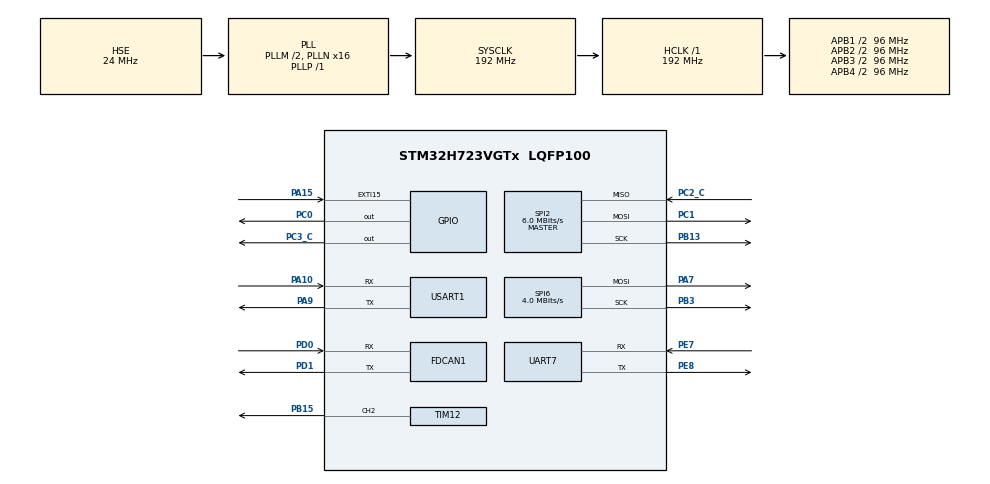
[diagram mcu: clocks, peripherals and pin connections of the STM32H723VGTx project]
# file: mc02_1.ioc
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CORTEX_M7.default_mode_Activation=1
Dma.Request0=USART1_TX
Dma.Request1=USART1_RX
Dma.Request2=UART7_RX
Dma.Request3=UART7_TX
Dma.UART7_RX.2.Direction=DMA_PERIPH_TO_MEMORY
Dma.UART7_RX.2.EventEnable=DISABLE
Dma.UART7_RX.2.FIFOMode=DMA_FIFOMODE_DISABLE
Dma.UART7_RX.2.Instance=DMA1_Stream2
Dma.UART7_RX.2.MemDataAlignment=DMA_MDATAALIGN_BYTE
Dma.UART7_RX.2.MemInc=DMA_MINC_ENABLE
Dma.UART7_RX.2.Mode=DMA_CIRCULAR
Dma.UART7_RX.2.PeriphDataAlignment=DMA_PDATAALIGN_BYTE
Dma.UART7_RX.2.PeriphInc=DMA_PINC_DISABLE
Dma.UART7_RX.2.Polarity=HAL_DMAMUX_REQ_GEN_RISING
Dma.UART7_RX.2.Priority=DMA_PRIORITY_LOW
Dma.UART7_RX.2.RequestNumber=1
Dma.UART7_RX.2.SignalID=NONE
Dma.UART7_RX.2.SyncEnable=DISABLE
Dma.UART7_RX.2.SyncPolarity=HAL_DMAMUX_SYNC_NO_EVENT
Dma.UART7_RX.2.SyncRequestNumber=1
Dma.UART7_RX.2.SyncSignalID=NONE
Dma.UART7_TX.3.Direction=DMA_MEMORY_TO_PERIPH
Dma.UART7_TX.3.EventEnable=DISABLE
Dma.UART7_TX.3.FIFOMode=DMA_FIFOMODE_DISABLE
Dma.UART7_TX.3.Instance=DMA1_Stream3
Dma.UART7_TX.3.MemDataAlignment=DMA_MDATAALIGN_BYTE
Dma.UART7_TX.3.MemInc=DMA_MINC_ENABLE
Dma.UART7_TX.3.Mode=DMA_NORMAL
Dma.UART7_TX.3.PeriphDataAlignment=DMA_PDATAALIGN_BYTE
Dma.UART7_TX.3.PeriphInc=DMA_PINC_DISABLE
Dma.UART7_TX.3.Polarity=HAL_DMAMUX_REQ_GEN_RISING
Dma.UART7_TX.3.Priority=DMA_PRIORITY_LOW
Dma.UART7_TX.3.RequestNumber=1
Dma.UART7_TX.3.SignalID=NONE
Dma.UART7_TX.3.SyncEnable=DISABLE
Dma.UART7_TX.3.SyncPolarity=HAL_DMAMUX_SYNC_NO_EVENT
Dma.UART7_TX.3.SyncRequestNumber=1
Dma.UART7_TX.3.SyncSignalID=NONE
Dma.USART1_RX.1.Direction=DMA_PERIPH_TO_MEMORY
Dma.USART1_RX.1.EventEnable=DISABLE
Dma.USART1_RX.1.FIFOMode=DMA_FIFOMODE_DISABLE
Dma.USART1_RX.1.Instance=DMA1_Stream1
Dma.USART1_RX.1.MemDataAlignment=DMA_MDATAALIGN_BYTE
Dma.USART1_RX.1.MemInc=DMA_MINC_ENABLE
Dma.USART1_RX.1.Mode=DMA_NORMAL
Dma.USART1_RX.1.PeriphDataAlignment=DMA_PDATAALIGN_BYTE
Dma.USART1_RX.1.PeriphInc=DMA_PINC_DISABLE
Dma.USART1_RX.1.Polarity=HAL_DMAMUX_REQ_GEN_RISING
Dma.USART1_RX.1.Priority=DMA_PRIORITY_LOW
Dma.USART1_RX.1.RequestNumber=1
Dma.USART1_RX.1.SignalID=NONE
Dma.USART1_RX.1.SyncEnable=DISABLE
Dma.USART1_RX.1.SyncPolarity=HAL_DMAMUX_SYNC_NO_EVENT
Dma.USART1_RX.1.SyncRequestNumber=1
Dma.USART1_RX.1.SyncSignalID=NONE
Dma.USART1_TX.0.Direction=DMA_MEMORY_TO_PERIPH
Dma.USART1_TX.0.EventEnable=DISABLE
Dma.USART1_TX.0.FIFOMode=DMA_FIFOMODE_DISABLE
Dma.USART1_TX.0.Instance=DMA1_Stream0
Dma.USART1_TX.0.MemDataAlignment=DMA_MDATAALIGN_BYTE
Dma.USART1_TX.0.MemInc=DMA_MINC_ENABLE
Dma.USART1_TX.0.Mode=DMA_NORMAL
Dma.USART1_TX.0.PeriphDataAlignment=DMA_PDATAALIGN_BYTE
Dma.USART1_TX.0.PeriphInc=DMA_PINC_DISABLE
Dma.USART1_TX.0.Polarity=HAL_DMAMUX_REQ_GEN_RISING
Dma.USART1_TX.0.Priority=DMA_PRIORITY_LOW
Dma.USART1_TX.0.RequestNumber=1
Dma.USART1_TX.0.SignalID=NONE
Dma.USART1_TX.0.SyncEnable=DISABLE
Dma.USART1_TX.0.SyncPolarity=HAL_DMAMUX_SYNC_NO_EVENT
Dma.USART1_TX.0.SyncRequestNumber=1
Dma.USART1_TX.0.SyncSignalID=NONE
FDCAN1.CalculateBaudRateNominal=1000000
FDCAN1.CalculateTimeBitNominal=1000
FDCAN1.CalculateTimeQuantumNominal=62.5
FDCAN1.DataTimeSeg1=13
FDCAN1.DataTimeSeg2=2
FDCAN1.ExtFiltersNbr=8
FDCAN1.Mode=FDCAN_MODE_NORMAL
FDCAN1.NominalPrescaler=6
FDCAN1.NominalTimeSeg1=13
FDCAN1.NominalTimeSeg2=2
FDCAN1.RxBuffersNbr=8
FDCAN1.RxFifo0ElmtsNbr=8
FDCAN1.RxFifo1ElmtsNbr=8
FDCAN1.StdFiltersNbr=8
FDCAN1.TxBuffersNbr=8
FDCAN1.TxEventsNbr=8
FDCAN1.TxFifoQueueElmtsNbr=8
FREERTOS.Tasks01=defaultTask,24,128,StartDefaultTask,Default,NULL,Dynamic,NULL,NULL;myTask02,8,128,motorTask,Default,NULL,Dynamic,NULL,NULL;myTask03,8,526,UartTask,Default,NULL,Dynamic,NULL,NULL
Mcu.Family=STM32H7
Mcu.Name=STM32H723VGTx
Mcu.Package=LQFP100
NVIC.DMA1_Stream0_IRQn=true\:5\:0\:false\:false\:true\:true\:false\:true\:true
NVIC.DMA1_Stream1_IRQn=true\:5\:0\:false\:false\:true\:true\:false\:true\:true
NVIC.DMA1_Stream2_IRQn=true\:5\:0\:false\:false\:true\:true\:false\:true\:true
NVIC.DMA1_Stream3_IRQn=true\:5\:0\:false\:false\:true\:true\:false\:true\:true
NVIC.EXTI15_10_IRQn=true\:5\:0\:false\:false\:true\:true\:true\:true\:true
NVIC.FDCAN1_IT0_IRQn=true\:5\:0\:false\:false\:true\:true\:true\:true\:true
NVIC.PriorityGroup=NVIC_PRIORITYGROUP_4
NVIC.TIM4_IRQn=true\:15\:0\:false\:false\:true\:false\:false\:true\:true
NVIC.TimeBase=TIM4_IRQn
NVIC.TimeBaseIP=TIM4
NVIC.UART7_IRQn=true\:5\:0\:false\:false\:true\:true\:true\:true\:true
NVIC.USART1_IRQn=true\:5\:0\:false\:false\:true\:true\:true\:true\:true
PA10.Mode=Asynchronous
PA10.Signal=USART1_RX
PA13(JTMS/SWDIO).Mode=Serial_Wire
PA13(JTMS/SWDIO).Signal=DEBUG_JTMS-SWDIO
PA14(JTCK/SWCLK).Mode=Serial_Wire
PA14(JTCK/SWCLK).Signal=DEBUG_JTCK-SWCLK
PA15(JTDI).GPIO_ModeDefaultEXTI=GPIO_MODE_IT_FALLING
PA15(JTDI).GPIO_PuPd=GPIO_PULLUP
PA15(JTDI).Signal=GPXTI15
PA7.Mode=TX_Only_Simplex_Unidirect_Master
PA7.Signal=SPI6_MOSI
PA9.Mode=Asynchronous
PA9.Signal=USART1_TX
PB13.Mode=Full_Duplex_Master
PB13.Signal=SPI2_SCK
PB15.Signal=S_TIM12_CH2
PB3(JTDO/TRACESWO).Mode=TX_Only_Simplex_Unidirect_Master
PB3(JTDO/TRACESWO).Signal=SPI6_SCK
PC0.PinState=GPIO_PIN_SET
PC0.Signal=GPIO_Output
PC1.Mode=Full_Duplex_Master
PC1.Signal=SPI2_MOSI
PC2_C.Mode=Full_Duplex_Master
PC2_C.Signal=SPI2_MISO
PC3_C.PinState=GPIO_PIN_SET
PC3_C.Signal=GPIO_Output
PD0.Mode=FDCAN_Activate
PD0.Signal=FDCAN1_RX
PD1.Mode=FDCAN_Activate
PD1.Signal=FDCAN1_TX
PE7.Mode=Asynchronous
PE7.Signal=UART7_RX
PE8.Mode=Asynchronous
PE8.Signal=UART7_TX
PH0-OSC_IN.Mode=HSE-External-Oscillator
PH0-OSC_IN.Signal=RCC_OSC_IN
PH1-OSC_OUT.Mode=HSE-External-Oscillator
PH1-OSC_OUT.Signal=RCC_OSC_OUT
ProjectManager.HeapSize=0x800
ProjectManager.StackSize=0x1000
ProjectManager.TargetToolchain=CMake
RCC.ADCFreq_Value=48375000
RCC.APB1Freq_Value=96000000
RCC.APB2Freq_Value=96000000
RCC.APB3Freq_Value=96000000
RCC.APB4Freq_Value=96000000
RCC.CortexFreq_Value=192000000
RCC.D1PPRE=RCC_APB3_DIV2
RCC.D2PPRE1=RCC_APB1_DIV2
RCC.D2PPRE2=RCC_APB2_DIV2
RCC.D3PPRE=RCC_APB4_DIV2
RCC.DIVM1=2
RCC.DIVN1=16
RCC.DIVP1=1
RCC.HCLKFreq_Value=192000000
RCC.HSE_VALUE=24000000
RCC.PLL2FRACN=0
RCC.PLL3FRACN=0
RCC.PLLFRACN=0
RCC.PLLSourceVirtual=RCC_PLLSOURCE_HSE
RCC.SPI6CLockSelection=RCC_SPI6CLKSOURCE_HSI
RCC.SYSCLKFreq_VALUE=192000000
RCC.SYSCLKSource=RCC_SYSCLKSOURCE_PLLCLK
RCC.USBFreq_Value=96000000
SH.S_TIM12_CH2.0=TIM12_CH2,PWM Generation2 CH2
SPI2.BaudRatePrescaler=SPI_BAUDRATEPRESCALER_16
SPI2.CLKPhase=SPI_PHASE_2EDGE
SPI2.CLKPolarity=SPI_POLARITY_HIGH
SPI2.CalculateBaudRate=6.0 MBits/s
SPI2.DataSize=SPI_DATASIZE_8BIT
SPI2.Direction=SPI_DIRECTION_2LINES
SPI2.Mode=SPI_MODE_MASTER
SPI2.VirtualType=VM_MASTER
SPI6.BaudRatePrescaler=SPI_BAUDRATEPRESCALER_16
SPI6.CLKPhase=SPI_PHASE_2EDGE
SPI6.CalculateBaudRate=4.0 MBits/s
SPI6.DataSize=SPI_DATASIZE_8BIT
SPI6.Direction=SPI_DIRECTION_2LINES_TXONLY
SPI6.Mode=SPI_MODE_MASTER
SPI6.VirtualType=VM_MASTER
TIM12.AutoReloadPreload=TIM_AUTORELOAD_PRELOAD_ENABLE
TIM12.Channel-PWM\ Generation2\ CH2=TIM_CHANNEL_2
TIM12.Prescaler=71
USART1.VirtualMode-Asynchronous=VM_ASYNC
VP_FREERTOS_VS_CMSIS_V2.Mode=CMSIS_V2
VP_MEMORYMAP_VS_MEMORYMAP.Mode=CurAppReg
VP_SYS_VS_tim4.Mode=TIM4
VP_TIM12_VS_ClockSourceINT.Mode=Internal
board=custom

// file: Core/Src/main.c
/* USER CODE BEGIN Header */
/**
  ******************************************************************************
  * @file           : main.c
  * @brief          : Main program body
  ******************************************************************************
  * @attention
  *
  * Copyright (c) 2026 STMicroelectronics.
  * All rights reserved.
  *
  * This software is licensed under terms that can be found in the LICENSE file
  * in the root directory of this software component.
  * If no LICENSE file comes with this software, it is provided AS-IS.
  *
  ******************************************************************************
  */
/* USER CODE END Header */
#include "main.h"
#include "FreeRTOS.h"
#include "cmsis_os2.h"
#include "dma.h"
#include "fdcan.h"
#include "spi.h"
#include "tim.h"
#include "usart.h"
#include "gpio.h"

/* USER CODE BEGIN Includes */
//#include "queue.h"
#include"string.h"
#include"../../User/Inc/bsp_buzzer.h"
#include"../../User/Inc/bsp_ws2812.h"
#include"../../User/Inc/bsp_led.h"
#include"../../User/Inc/bsp_uart.h"
#include"../../User/Inc/bsp_can.h"
#include"../../User/Inc/bsp_imu.h"
#include"../../User/Inc/bsp_motor.h"
//#include"FreeRTOSConfig.h"
#include"stdio.h"
/* USER CODE END Includes */

/* USER CODE BEGIN PV */
extern volatile uint8_t press_time = 0;
volatile uint8_t last_press_time = 0;
 volatile uint8_t flag = 0;
//extern osMessageQueueId_t uartQueueHandle;
char buf[128];
extern char re_buf[128];
/* USER CODE END PV */

void SystemClock_Config(void);
static void MPU_Config(void);
void MX_FREERTOS_Init(void);

int main(void)
{

  /* MPU Configuration--------------------------------------------------------*/
  MPU_Config();

  /* MCU Configuration--------------------------------------------------------*/

  /* Reset of all peripherals, Initializes the Flash interface and the Systick. */
  HAL_Init();

  /* USER CODE BEGIN Init */
  buzzer_init();
  /* USER CODE END Init */

  /* Configure the system clock */
  SystemClock_Config();

  /* Initialize all configured peripherals */
  MX_GPIO_Init();
  MX_DMA_Init();
  MX_SPI6_Init();
  MX_TIM12_Init();
  MX_USART1_UART_Init();
  MX_UART7_Init();
  MX_FDCAN1_Init();
  MX_SPI2_Init();
  /* USER CODE BEGIN 2 */
  buzzer_init();
  bsp_led_init();
   uart_init(&huart7);
   bsp_can_init();
   IMU_Init();
  /* 打印一次芯片 ID，确认 SPI 通路是否正常：正常应为 ACC=0x1E, GYRO=0x0F */
  //uart_start("ACC ID: 0x%02X, GYRO ID: 0x%02X\r\n", IMU_ReadReg(1, 0x00), IMU_ReadReg(0, 0x00));

  /* USER CODE END 2 */

  /* Init scheduler */
  osKernelInitialize();  /* Call init function for freertos objects (in cmsis_os2.c) */
  MX_FREERTOS_Init();

  /* Start scheduler */
  osKernelStart();

  /* We should never get here as control is now taken by the scheduler */

  /* Infinite loop */
  /* USER CODE BEGIN WHILE */

  //用按键模拟工作状态，按一下表示未工作，按两下表示正常，按三下表示遇到突发情况
  static uint8_t last_press = 10;
  uint8_t txcan_buf[8] = {1,2,3,4,5,6,7,8};
  IMU_Data_t imu;
  while (1) {
    // if (press_time != last_press) {
    //   last_press = press_time;
    //   if (press_time == 1) {bsp_led_set(init,0,0,0);}
    //   else if (press_time == 2) {
    //     bsp_led_set(normal,250,0,0);
    //     uart_start("working normally\n");
    //   }
    //   else if (press_time == 3) {
    //     bsp_led_set(error,250,0,0);
    //     uart_start("working error\n");
    //   }
    // }
    //   uint32_t now = HAL_GetTick();
    ///bsp_led_task(2000);
    //   if (flag == 1) {
    //     flag = 0;
   // buzzer_start(1000,1000);
    //   }
    //buzzer_task();
    //fdcanx_send_data(&hfdcan1,0x201,txcan_buf,sizeof(txcan_buf));
    //IMU_GetData(&imu);
    //uart_start("%.2f,%.2f,%.2f,%.2f,%.2f,%.2f,%f\n",imu.accel_x,imu.accel_y,imu.accel_z,imu.gyro_x,
    //imu.gyro_y,imu.gyro_z,10.4);
    //HAL_Delay(10);
   // motor_set_I(10000);
    //HAL_Delay(10);
    /* USER CODE END WHILE */

  }
}

void SystemClock_Config(void)
{
  RCC_OscInitTypeDef RCC_OscInitStruct = {0};
  RCC_ClkInitTypeDef RCC_ClkInitStruct = {0};

  /** Supply configuration update enable
  */
  HAL_PWREx_ConfigSupply(PWR_LDO_SUPPLY);

  /** Configure the main internal regulator output voltage
  */
  __HAL_PWR_VOLTAGESCALING_CONFIG(PWR_REGULATOR_VOLTAGE_SCALE1);

  while(!__HAL_PWR_GET_FLAG(PWR_FLAG_VOSRDY)) {}

  /** Initializes the RCC Oscillators according to the specified parameters
  * in the RCC_OscInitTypeDef structure.
  */
  RCC_OscInitStruct.OscillatorType = RCC_OSCILLATORTYPE_HSI|RCC_OSCILLATORTYPE_HSE;
  RCC_OscInitStruct.HSEState = RCC_HSE_ON;
  RCC_OscInitStruct.HSIState = RCC_HSI_DIV1;
  RCC_OscInitStruct.HSICalibrationValue = 64;
  RCC_OscInitStruct.PLL.PLLState = RCC_PLL_ON;
  RCC_OscInitStruct.PLL.PLLSource = RCC_PLLSOURCE_HSE;
  RCC_OscInitStruct.PLL.PLLM = 2;
  RCC_OscInitStruct.PLL.PLLN = 16;
  RCC_OscInitStruct.PLL.PLLP = 1;
  RCC_OscInitStruct.PLL.PLLQ = 2;
  RCC_OscInitStruct.PLL.PLLR = 2;
  RCC_OscInitStruct.PLL.PLLRGE = RCC_PLL1VCIRANGE_3;
  RCC_OscInitStruct.PLL.PLLVCOSEL = RCC_PLL1VCOWIDE;
  RCC_OscInitStruct.PLL.PLLFRACN = 0;
  if (HAL_RCC_OscConfig(&RCC_OscInitStruct) != HAL_OK)
  {
    Error_Handler();
  }

  /** Initializes the CPU, AHB and APB buses clocks
  */
  RCC_ClkInitStruct.ClockType = RCC_CLOCKTYPE_HCLK|RCC_CLOCKTYPE_SYSCLK
                              |RCC_CLOCKTYPE_PCLK1|RCC_CLOCKTYPE_PCLK2
                              |RCC_CLOCKTYPE_D3PCLK1|RCC_CLOCKTYPE_D1PCLK1;
  RCC_ClkInitStruct.SYSCLKSource = RCC_SYSCLKSOURCE_PLLCLK;
  RCC_ClkInitStruct.SYSCLKDivider = RCC_SYSCLK_DIV1;
  RCC_ClkInitStruct.AHBCLKDivider = RCC_HCLK_DIV1;
  RCC_ClkInitStruct.APB3CLKDivider = RCC_APB3_DIV2;
  RCC_ClkInitStruct.APB1CLKDivider = RCC_APB1_DIV2;
  RCC_ClkInitStruct.APB2CLKDivider = RCC_APB2_DIV2;
  RCC_ClkInitStruct.APB4CLKDivider = RCC_APB4_DIV2;

  if (HAL_RCC_ClockConfig(&RCC_ClkInitStruct, FLASH_LATENCY_2) != HAL_OK)
  {
    Error_Handler();
  }
}

/* USER CODE BEGIN 4 */
  void HAL_GPIO_EXTI_Callback(uint16_t GPIO_Pin) {
    if (GPIO_Pin == GPIO_PIN_15) {
      static uint32_t time = 0;
     // BaseType_t xHigherPriorityTaskWoken = pdFALSE;
      uint32_t current_time = HAL_GetTick();
      if (current_time - time > 50) {
        time = current_time;
        press_time++;
        flag =1;
        if (press_time >3){press_time = 1;}
       // xQueueSendFromISR(uartQueueHandle,&press_time,&xHigherPriorityTaskWoken);
        //portYIELD_FROM_ISR(xHigherPriorityTaskWoken);
      }
    }
  }
/* USER CODE END 4 */

 /* MPU Configuration */

void MPU_Config(void)
{
  MPU_Region_InitTypeDef MPU_InitStruct = {0};

  /* Disables the MPU */
  HAL_MPU_Disable();

  /** Initializes and configures the Region and the memory to be protected
  */
  MPU_InitStruct.Enable = MPU_REGION_ENABLE;
  MPU_InitStruct.Number = MPU_REGION_NUMBER0;
  MPU_InitStruct.BaseAddress = 0x0;
  MPU_InitStruct.Size = MPU_REGION_SIZE_4GB;
  MPU_InitStruct.SubRegionDisable = 0x87;
  MPU_InitStruct.TypeExtField = MPU_TEX_LEVEL0;
  MPU_InitStruct.AccessPermission = MPU_REGION_NO_ACCESS;
  MPU_InitStruct.DisableExec = MPU_INSTRUCTION_ACCESS_DISABLE;
  MPU_InitStruct.IsShareable = MPU_ACCESS_SHAREABLE;
  MPU_InitStruct.IsCacheable = MPU_ACCESS_NOT_CACHEABLE;
  MPU_InitStruct.IsBufferable = MPU_ACCESS_NOT_BUFFERABLE;

  HAL_MPU_ConfigRegion(&MPU_InitStruct);
  /* Enables the MPU */
  HAL_MPU_Enable(MPU_PRIVILEGED_DEFAULT);

}

void HAL_TIM_PeriodElapsedCallback(TIM_HandleTypeDef *htim)
{
  if (htim->Instance == TIM4)
  {
    HAL_IncTick();
  }
}

void Error_Handler(void)
{
    __disable_irq();
    while (1)
    {
    }
}

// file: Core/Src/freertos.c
/* USER CODE BEGIN Header */
/**
  ******************************************************************************
  * File Name          : freertos.c
  * Description        : Code for freertos applications
  ******************************************************************************
  * @attention
  *
  * Copyright (c) 2026 STMicroelectronics.
  * All rights reserved.
  *
  * This software is licensed under terms that can be found in the LICENSE file
  * in the root directory of this software component.
  * If no LICENSE file comes with this software, it is provided AS-IS.
  *
  ******************************************************************************
  */
/* USER CODE END Header */

#include "FreeRTOS.h"
#include "task.h"
#include "main.h"
#include "FreeRTOS.h"
#include "cmsis_os2.h"

/* USER CODE BEGIN Includes */
#include"../../User/Inc/bsp_motor.h"
#include"../../User/Inc/bsp_uart.h"
#include"../../User/Inc/bsp_led.h"
/* USER CODE END Includes */

/* USER CODE BEGIN PD */
extern float duty;
/* USER CODE END PD */

/* Definitions for defaultTask */
osThreadId_t defaultTaskHandle;
const osThreadAttr_t defaultTask_attributes = {
  .name = "defaultTask",
  .stack_size = 128 * 4,
  .priority = (osPriority_t) osPriorityNormal,
};
/* Definitions for myTask02 */
osThreadId_t myTask02Handle;
const osThreadAttr_t myTask02_attributes = {
  .name = "myTask02",
  .stack_size = 128 * 4,
  .priority = (osPriority_t) osPriorityLow,
};
/* Definitions for myTask03 */
osThreadId_t myTask03Handle;
const osThreadAttr_t myTask03_attributes = {
  .name = "myTask03",
  .stack_size = 526 * 4,
  .priority = (osPriority_t) osPriorityLow,
};

void StartDefaultTask(void *argument);
void motorTask(void *argument);
void UartTask(void *argument);

void MX_FREERTOS_Init(void); /* (MISRA C 2004 rule 8.1) */

void MX_FREERTOS_Init(void) {

  /* Create the thread(s) */
  /* creation of defaultTask */
  defaultTaskHandle = osThreadNew(StartDefaultTask, NULL, &defaultTask_attributes);

  /* creation of myTask02 */
  myTask02Handle = osThreadNew(motorTask, NULL, &myTask02_attributes);

  /* creation of myTask03 */
  myTask03Handle = osThreadNew(UartTask, NULL, &myTask03_attributes);

}

void StartDefaultTask(void *argument)
{
  for(;;)
  {
    osDelay(1);
  }
}

void motorTask(void *argument)
{
  /* USER CODE BEGIN motorTask */
  /* Infinite loop */
  for(;;)
  {bsp_led_task(2000);
    motor_set_I(id1,10000 * duty );

  }
  /* USER CODE END motorTask */
}

void UartTask(void *argument)
{
  /* USER CODE BEGIN UartTask */
  /* Infinite loop */
  for(;;)
  {
    motor_send();
    int16_t current_me_angle = rx_data.me_angle;
    int16_t current_speed = rx_data.speed;
    int16_t current_temperature = rx_data.temperature;
    int16_t current_I = rx_data.current;
    uart_start("me_angle:%d speed:%d current:%d temperature:%d\n", current_me_angle, current_speed,
     current_I, current_temperature);
    osDelay(10);
  }
  /* USER CODE END UartTask */
}
